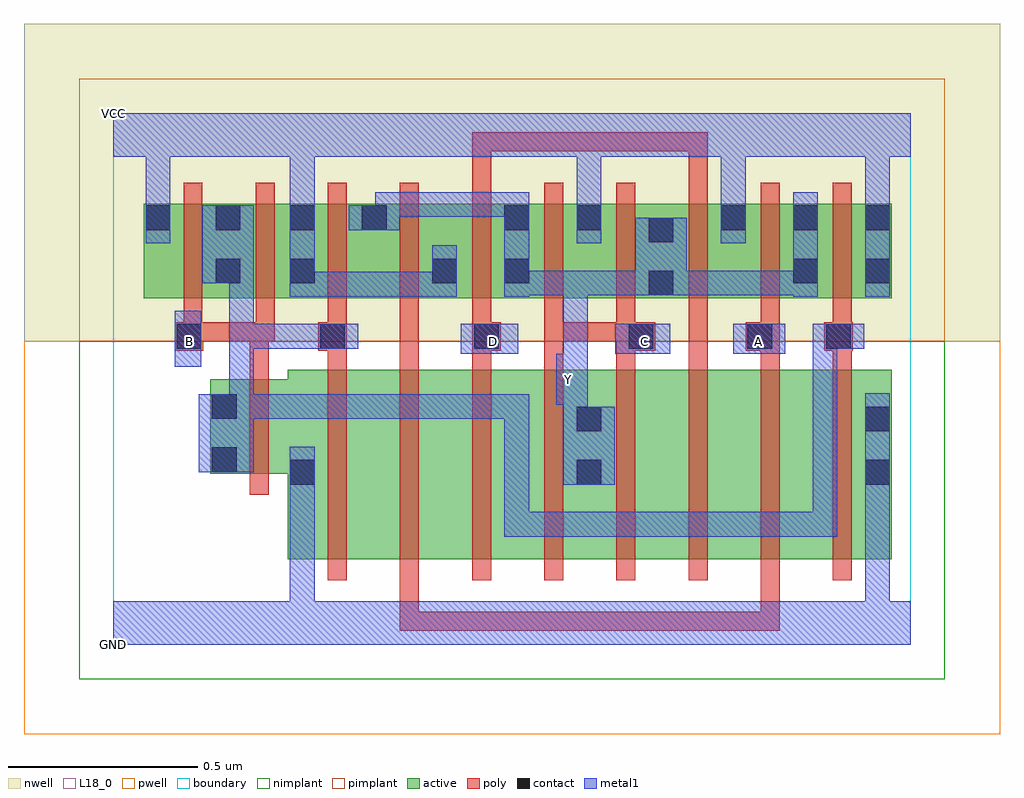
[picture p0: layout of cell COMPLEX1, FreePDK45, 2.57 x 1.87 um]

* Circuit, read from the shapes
.subckt COMPLEX1 A B C D GND VCC Y
M1 GND B n1 VSUBS nfet w=0.25u l=0.05u
M2 n2 n1 GND VSUBS nfet w=0.5u l=0.05u
M3 n3 A n2 VSUBS nfet w=0.5u l=0.05u
M4 n4 D n3 VSUBS nfet w=0.5u l=0.05u
M5 Y C n4 VSUBS nfet w=0.5u l=0.05u
M6 n5 C Y VSUBS nfet w=0.5u l=0.05u
M7 n6 D n5 VSUBS nfet w=0.5u l=0.05u
M8 n7 A n6 VSUBS nfet w=0.5u l=0.05u
M9 GND n1 n7 VSUBS nfet w=0.5u l=0.05u
M10 n1 B VCC n8 pfet w=0.25u l=0.05u m=2
M11 Y n1 VCC n8 pfet w=0.25u l=0.05u m=2
M12 VCC A Y n8 pfet w=0.25u l=0.05u m=2
M13 Y D VCC n8 pfet w=0.25u l=0.05u m=2
M14 VCC C Y n8 pfet w=0.25u l=0.05u m=2
.ends

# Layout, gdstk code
import gdstk
lib = gdstk.Library(unit=1e-6, precision=1e-09)
def R(c, l, rs):  # rectangles x0, y0, x1, y1
    for r in rs: c.add(gdstk.rectangle(r[:2], r[2:], *l))
def A(c, l, x, y, w, h, nx, ny, dx, dy):  # array of equal rectangles
    R(c, l, [(x+i*dx, y+j*dy, x+i*dx+w, y+j*dy+h) for i in range(nx) for j in range(ny)])
active = (1, 0)
pwell = (2, 0)
nwell = (3, 0)
nimplant = (4, 0)
pimplant = (5, 0)
poly = (9, 0)
contact = (10, 0)
metal1 = (11, 0)
L18_0 = (18, 0)
boundary = (235, 0)

complex1 = lib.new_cell('COMPLEX1')
A(complex1, active, 0.835, 0.912, 0.265, 0.25, 6, 1, 0.19, 0)
R(complex1, active, [(0.46,0.225,0.685,0.725), (0.685,0.225,0.875,0.725), (0.875,0.225,1.065,0.725), (1.065,0.225,1.29,0.725), (1.215,0.225,1.445,0.725), (1.445,0.225,1.635,0.725), (1.635,0.225,1.825,0.725), (1.825,0.225,2.05,0.725), (1.215,0.245,1.29,0.725), (1.975,0.245,2.05,0.725), (0.46,0.417,0.535,0.7), (0.255,0.45,0.535,0.7), (0.255,0.45,0.33,0.7), (0.08,0.912,0.155,1.162), (0.08,0.912,0.34,1.162), (0.265,0.912,0.34,1.162), (0.265,0.912,0.535,1.162), (0.46,0.912,0.535,1.162), (0.46,0.912,0.725,1.162), (0.65,0.912,0.91,1.162), (1.025,0.912,1.1,1.162), (1.405,0.912,1.48,1.142), (1.785,0.912,1.86,1.162), (1.975,0.912,2.05,1.162), (1.215,0.932,1.29,1.162), (0.835,0.947,0.91,1.07), (1.595,0.95,1.67,1.162), (0.65,1.057,0.725,1.162)])
R(complex1, pwell, [(-0.235,-0.235,2.335,0.8)])
R(complex1, nwell, [(-0.235,0.8,2.335,1.635)])
R(complex1, nimplant, [(-0.09,-0.09,2.19,0.8)])
R(complex1, pimplant, [(-0.09,0.8,2.19,1.49)])
A(complex1, poly, 0.565, 0.17, 0.05, 0.61, 8, 1, 0.19, 0)
A(complex1, poly, 0.565, 0.73, 0.05, 0.095, 3, 1, 0.19, 0)
A(complex1, poly, 1.325, 0.73, 0.05, 0.095, 4, 1, 0.19, 0)
A(complex1, poly, 0.185, 0.8, 0.05, 0.107, 3, 1, 0.19, 0)
A(complex1, poly, 0.945, 0.8, 0.05, 0.107, 3, 1, 0.19, 0)
A(complex1, poly, 0.185, 0.857, 0.05, 0.36, 10, 1, 0.19, 0)
R(complex1, poly, [(0.755,0.037,0.805,0.22), (0.755,0.037,0.805,0.087), (0.755,0.037,0.805,0.087), (0.755,0.037,0.805,0.087), (0.755,0.037,0.937,0.087), (0.887,0.037,0.937,0.087), (0.887,0.037,1.127,0.087), (1.077,0.037,1.127,0.087), (1.077,0.037,1.127,0.087), (1.077,0.037,1.127,0.087), (1.077,0.037,1.317,0.087), (1.267,0.037,1.317,0.087), (1.267,0.037,1.317,0.087), (1.267,0.037,1.317,0.087), (1.267,0.037,1.582,0.087), (1.532,0.037,1.582,0.087), (1.532,0.037,1.582,0.087), (1.532,0.037,1.582,0.087), (1.532,0.037,1.755,0.087), (1.705,0.037,1.755,0.22), (1.705,0.037,1.755,0.087), (1.705,0.037,1.755,0.087), (1.705,0.037,1.755,0.087), (0.36,0.395,0.41,0.755), (0.36,0.705,0.41,0.85), (1.135,0.73,1.185,0.85), (0.162,0.775,0.237,0.85), (0.54,0.775,0.615,0.85), (0.755,0.775,0.805,0.825), (0.755,0.775,0.805,0.907), (0.945,0.775,1.02,0.85), (1.325,0.775,1.427,0.85), (1.515,0.775,1.565,0.825), (1.515,0.775,1.565,0.907), (1.665,0.775,1.755,0.85), (1.872,0.775,1.947,0.85), (0.187,0.8,0.41,0.85), (0.36,0.8,0.41,0.85), (0.36,0.8,0.41,0.85), (0.36,0.8,0.425,0.85), (1.135,0.8,1.185,0.85), (1.135,0.8,1.375,0.85), (1.325,0.8,1.375,0.85), (1.325,0.8,1.375,0.85), (1.705,0.8,1.755,0.907), (1.895,0.8,1.945,0.907), (0.945,1.167,0.995,1.35), (1.515,1.167,1.565,1.35), (0.945,1.3,0.995,1.35), (0.945,1.3,1.127,1.35), (1.077,1.3,1.127,1.35), (1.077,1.3,1.127,1.35), (1.077,1.3,1.127,1.35), (1.077,1.3,1.355,1.35), (1.305,1.3,1.355,1.35), (1.305,1.3,1.355,1.35), (1.305,1.3,1.355,1.35), (1.305,1.3,1.565,1.35), (1.515,1.3,1.565,1.35), (1.515,1.3,1.565,1.35), (1.515,1.3,1.565,1.35)])
A(complex1, contact, 1.6, 1.092, 0.065, 0.065, 3, 1, 0.19, 0)
R(complex1, contact, [(0.465,0.422,0.53,0.487), (1.22,0.422,1.285,0.487), (1.98,0.422,2.045,0.487), (0.26,0.455,0.325,0.52), (1.22,0.562,1.285,0.627), (1.98,0.562,2.045,0.627), (0.26,0.595,0.325,0.66), (0.167,0.78,0.232,0.845), (0.545,0.78,0.61,0.845), (0.95,0.78,1.015,0.845), (1.357,0.78,1.422,0.845), (1.67,0.78,1.735,0.845), (1.877,0.78,1.942,0.845), (1.41,0.92,1.475,0.985), (0.27,0.952,0.335,1.017), (0.465,0.952,0.53,1.017), (0.84,0.952,0.905,1.017), (1.03,0.952,1.095,1.017), (1.79,0.952,1.855,1.017), (1.98,0.952,2.045,1.017), (1.41,1.06,1.475,1.125), (0.085,1.092,0.15,1.157), (0.27,1.092,0.335,1.157), (0.465,1.092,0.53,1.157), (0.655,1.092,0.72,1.157), (1.03,1.092,1.095,1.157), (1.22,1.092,1.285,1.157)])
A(complex1, metal1, 1.22, 1.127, 0.065, 0.223, 3, 1, 0.38, 0)
R(complex1, metal1, [(0,0,2.1,0.115), (0.465,0.05,0.53,0.115), (0.465,0.05,0.53,0.115), (0.465,0.05,0.53,0.452), (1.98,0.05,2.045,0.115), (1.98,0.05,2.045,0.115), (1.98,0.05,2.045,0.115), (1.98,0.05,2.045,0.115), (1.98,0.05,2.045,0.452), (1.03,0.285,1.095,0.35), (1.03,0.285,1.095,0.35), (1.03,0.285,1.095,0.35), (1.03,0.285,1.232,0.35), (1.03,0.285,1.095,0.66), (1.167,0.285,1.232,0.35), (1.167,0.285,1.232,0.35), (1.167,0.285,1.232,0.35), (1.167,0.285,1.51,0.35), (1.445,0.285,1.51,0.35), (1.445,0.285,1.51,0.35), (1.445,0.285,1.51,0.35), (1.445,0.285,1.51,0.35), (1.445,0.285,1.51,0.35), (1.445,0.285,1.647,0.35), (1.582,0.285,1.647,0.35), (1.582,0.285,1.647,0.35), (1.582,0.285,1.647,0.35), (1.582,0.285,1.907,0.35), (1.842,0.285,1.907,0.35), (1.842,0.285,1.907,0.845), (0.465,0.387,0.53,0.452), (0.465,0.387,0.53,0.452), (0.465,0.387,0.53,0.522), (1.98,0.387,2.045,0.662), (1.185,0.422,1.32,0.627), (0.225,0.455,0.37,0.66), (1.185,0.562,1.25,0.697), (0.305,0.595,0.392,0.66), (0.305,0.595,0.37,0.845), (0.327,0.595,0.392,0.66), (0.327,0.595,0.53,0.66), (0.465,0.595,0.53,0.66), (0.465,0.595,0.53,0.66), (0.465,0.595,0.53,0.66), (0.465,0.595,0.755,0.66), (0.69,0.595,0.755,0.66), (0.69,0.595,0.755,0.66), (0.69,0.595,0.755,0.66), (0.69,0.595,0.892,0.66), (0.827,0.595,0.892,0.66), (0.827,0.595,0.892,0.66), (0.827,0.595,0.892,0.66), (0.827,0.595,1.095,0.66), (1.03,0.595,1.095,0.66), (1.167,0.632,1.25,0.767), (1.185,0.702,1.25,0.985), (0.162,0.732,0.232,0.88), (0.915,0.767,1.067,0.845), (1.322,0.767,1.467,0.845), (1.632,0.767,1.77,0.845), (0.305,0.78,0.37,0.845), (0.305,0.78,0.37,0.845), (0.305,0.78,0.37,0.845), (0.305,0.78,0.507,0.845), (0.305,0.78,0.37,1.017), (0.442,0.78,0.507,0.845), (0.442,0.78,0.575,0.845), (0.51,0.78,0.645,0.845), (1.842,0.78,1.907,0.845), (1.842,0.78,1.907,0.845), (1.842,0.78,1.977,0.845), (0.465,0.917,0.53,0.982), (0.465,0.917,0.53,0.982), (0.465,0.917,0.53,0.982), (0.465,0.917,0.53,0.982), (0.465,0.917,0.53,1.192), (0.465,0.917,0.755,0.982), (0.69,0.917,0.755,0.982), (0.69,0.917,0.755,0.982), (0.69,0.917,0.755,0.982), (0.69,0.917,0.905,0.982), (0.84,0.917,0.905,1.052), (1.03,0.917,1.095,1.192), (1.79,0.917,1.855,1.192), (1.98,0.917,2.045,1.192), (1.03,0.92,1.095,0.985), (1.03,0.92,1.095,0.985), (1.03,0.92,1.25,0.985), (1.185,0.92,1.25,0.985), (1.185,0.92,1.25,0.985), (1.185,0.92,1.25,0.985), (1.185,0.92,1.44,0.985), (1.375,0.92,1.51,1.125), (1.445,0.92,1.51,0.985), (1.445,0.92,1.51,0.985), (1.445,0.92,1.647,0.985), (1.582,0.92,1.647,0.985), (1.582,0.92,1.647,0.985), (1.582,0.92,1.647,0.985), (1.582,0.92,1.855,0.985), (0.235,0.952,0.37,1.157), (0.085,1.057,0.15,1.192), (1.22,1.057,1.285,1.192), (1.6,1.057,1.665,1.192), (0.62,1.092,0.755,1.157), (0.69,1.092,0.755,1.157), (0.69,1.092,0.755,1.192), (0.085,1.127,0.15,1.35), (0.085,1.127,0.15,1.192), (0.085,1.127,0.15,1.192), (0.465,1.127,0.53,1.35), (0.465,1.127,0.53,1.192), (0.465,1.127,0.53,1.192), (0.69,1.127,0.892,1.192), (0.827,1.127,0.892,1.192), (0.827,1.127,0.892,1.192), (0.827,1.127,0.892,1.192), (0.827,1.127,1.095,1.192), (1.03,1.127,1.095,1.192), (1.03,1.127,1.095,1.192), (1.22,1.127,1.285,1.192), (1.22,1.127,1.285,1.192), (1.22,1.127,1.285,1.192), (1.22,1.127,1.285,1.192), (1.98,1.127,2.045,1.192), (1.98,1.127,2.045,1.192), (0,1.285,2.1,1.4), (0.085,1.285,0.15,1.35), (0.085,1.285,0.15,1.35), (0.465,1.285,0.53,1.35), (0.465,1.285,0.53,1.35), (1.6,1.285,1.665,1.35), (1.6,1.285,1.665,1.35), (1.6,1.285,1.665,1.35), (1.6,1.285,1.665,1.35), (1.98,1.285,2.045,1.35), (1.98,1.285,2.045,1.35)])
A(complex1, L18_0, 1.22, 1.127, 0.065, 0.223, 3, 1, 0.38, 0)
R(complex1, L18_0, [(0,0,2.1,0.115), (0.465,0.05,0.53,0.115), (0.465,0.05,0.53,0.115), (0.465,0.05,0.53,0.452), (1.98,0.05,2.045,0.115), (1.98,0.05,2.045,0.115), (1.98,0.05,2.045,0.115), (1.98,0.05,2.045,0.115), (1.98,0.05,2.045,0.452), (0.465,0.387,0.53,0.522), (0.465,0.387,0.53,0.452), (0.465,0.387,0.53,0.452), (1.98,0.387,2.045,0.662), (1.185,0.422,1.32,0.627), (1.185,0.562,1.25,0.697), (1.167,0.632,1.25,0.767), (1.167,0.667,1.232,0.732), (1.185,0.702,1.25,0.985), (0.162,0.732,0.232,0.88), (0.167,0.767,0.232,0.832), (0.915,0.767,1.067,0.845), (0.967,0.767,1.032,0.832), (1.322,0.767,1.467,0.845), (1.367,0.767,1.432,0.832), (1.632,0.767,1.77,0.845), (1.667,0.767,1.732,0.832), (0.465,0.917,0.53,0.982), (0.465,0.917,0.53,0.982), (0.465,0.917,0.53,0.982), (0.465,0.917,0.53,0.982), (0.465,0.917,0.53,1.192), (0.465,0.917,0.755,0.982), (0.69,0.917,0.755,0.982), (0.69,0.917,0.755,0.982), (0.69,0.917,0.755,0.982), (0.69,0.917,0.905,0.982), (0.84,0.917,0.905,1.052), (1.03,0.917,1.095,1.192), (1.79,0.917,1.855,1.192), (1.98,0.917,2.045,1.192), (1.03,0.92,1.095,0.985), (1.03,0.92,1.095,0.985), (1.03,0.92,1.25,0.985), (1.185,0.92,1.25,0.985), (1.185,0.92,1.25,0.985), (1.185,0.92,1.25,0.985), (1.185,0.92,1.44,0.985), (1.375,0.92,1.51,1.125), (1.445,0.92,1.51,0.985), (1.445,0.92,1.51,0.985), (1.445,0.92,1.647,0.985), (1.582,0.92,1.647,0.985), (1.582,0.92,1.647,0.985), (1.582,0.92,1.647,0.985), (1.582,0.92,1.855,0.985), (0.085,1.057,0.15,1.192), (1.22,1.057,1.285,1.192), (1.6,1.057,1.665,1.192), (0.62,1.092,0.755,1.157), (0.69,1.092,0.755,1.157), (0.69,1.092,0.755,1.192), (0.085,1.127,0.15,1.192), (0.085,1.127,0.15,1.192), (0.085,1.127,0.15,1.35), (0.465,1.127,0.53,1.192), (0.465,1.127,0.53,1.192), (0.465,1.127,0.53,1.35), (0.69,1.127,0.892,1.192), (0.827,1.127,0.892,1.192), (0.827,1.127,0.892,1.192), (0.827,1.127,0.892,1.192), (0.827,1.127,1.095,1.192), (1.03,1.127,1.095,1.192), (1.03,1.127,1.095,1.192), (1.22,1.127,1.285,1.192), (1.22,1.127,1.285,1.192), (1.22,1.127,1.285,1.192), (1.22,1.127,1.285,1.192), (1.98,1.127,2.045,1.192), (1.98,1.127,2.045,1.192), (0,1.285,2.1,1.4), (0.085,1.285,0.15,1.35), (0.085,1.285,0.15,1.35), (0.465,1.285,0.53,1.35), (0.465,1.285,0.53,1.35), (1.6,1.285,1.665,1.35), (1.6,1.285,1.665,1.35), (1.6,1.285,1.665,1.35), (1.6,1.285,1.665,1.35), (1.98,1.285,2.045,1.35), (1.98,1.285,2.045,1.35)])
R(complex1, boundary, [(0,0,2.1,1.4)])
complex1.add(gdstk.Label('A', (1.7,0.8), layer=11, texttype=0))
complex1.add(gdstk.Label('B', (0.2,0.8), layer=11, texttype=0))
complex1.add(gdstk.Label('C', (1.4,0.8), layer=11, texttype=0))
complex1.add(gdstk.Label('D', (1,0.8), layer=11, texttype=0))
complex1.add(gdstk.Label('Y', (1.2,0.7), layer=11, texttype=0))
complex1.add(gdstk.Label('VCC', (0,1.4), layer=11, texttype=0))
complex1.add(gdstk.Label('GND', (0,0), layer=11, texttype=0))

lib.write_gds('COMPLEX1.gds')
